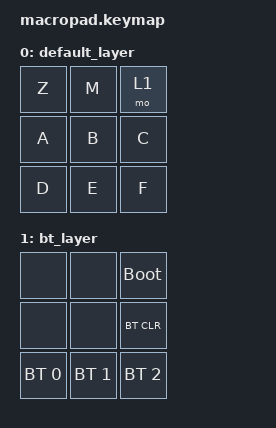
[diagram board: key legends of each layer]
#include <behaviours.dtsi>
#include <dt-bindings/zmk/keys.h>
#include <dt-bindings/zmk/bt.h>

/ {
    keymap {
        compatible = "zmk,keymap";

        default_layer { // Layer 0
            // -------------------------------------
            // |     Z     |     M     |     K     |
            // |     A     |     B     |     C     |
            // |     D     |     E     |     F     |
            bindings = <
                &kp Z    &kp M    &mo 1
                &kp A    &kp B    &kp C
                &kp D    &kp E    &kp F
            >;
        };

        bt_layer { // Layer 1 
            // -------------------------------------
            // |     Z     |     M     |     K     |
            // |     A     |     B     |     C     |
            // |     D     |     E     |     F     |
            bindings = <
                &none       &none       &bootloader
                &none       &none       &bt BT_CLR
                &bt BT_SEL 0   &bt BT_SEL 1   &bt BT_SEL 2
            >;
        };

    };
 };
